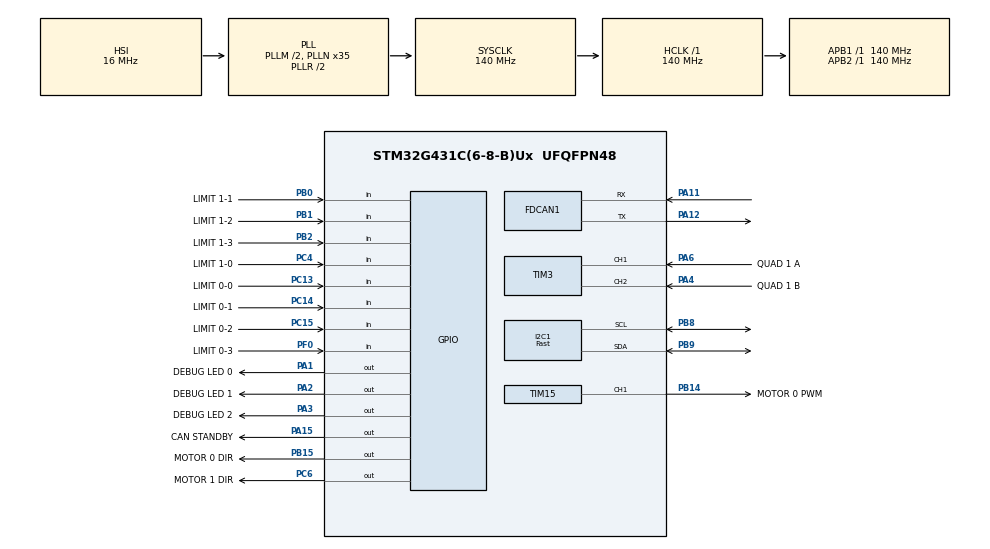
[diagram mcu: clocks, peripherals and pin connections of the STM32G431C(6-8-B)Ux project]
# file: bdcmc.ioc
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Dma.I2C1_RX.0.Direction=DMA_PERIPH_TO_MEMORY
Dma.I2C1_RX.0.EventEnable=DISABLE
Dma.I2C1_RX.0.Instance=DMA1_Channel1
Dma.I2C1_RX.0.MemDataAlignment=DMA_MDATAALIGN_BYTE
Dma.I2C1_RX.0.MemInc=DMA_MINC_ENABLE
Dma.I2C1_RX.0.Mode=DMA_NORMAL
Dma.I2C1_RX.0.PeriphDataAlignment=DMA_PDATAALIGN_BYTE
Dma.I2C1_RX.0.PeriphInc=DMA_PINC_DISABLE
Dma.I2C1_RX.0.Polarity=HAL_DMAMUX_REQ_GEN_RISING
Dma.I2C1_RX.0.Priority=DMA_PRIORITY_MEDIUM
Dma.I2C1_RX.0.RequestNumber=1
Dma.I2C1_RX.0.SignalID=NONE
Dma.I2C1_RX.0.SyncEnable=DISABLE
Dma.I2C1_RX.0.SyncPolarity=HAL_DMAMUX_SYNC_NO_EVENT
Dma.I2C1_RX.0.SyncRequestNumber=1
Dma.I2C1_RX.0.SyncSignalID=NONE
Dma.I2C1_TX.1.Direction=DMA_MEMORY_TO_PERIPH
Dma.I2C1_TX.1.EventEnable=DISABLE
Dma.I2C1_TX.1.Instance=DMA1_Channel2
Dma.I2C1_TX.1.MemDataAlignment=DMA_MDATAALIGN_BYTE
Dma.I2C1_TX.1.MemInc=DMA_MINC_ENABLE
Dma.I2C1_TX.1.Mode=DMA_NORMAL
Dma.I2C1_TX.1.PeriphDataAlignment=DMA_PDATAALIGN_BYTE
Dma.I2C1_TX.1.PeriphInc=DMA_PINC_DISABLE
Dma.I2C1_TX.1.Polarity=HAL_DMAMUX_REQ_GEN_RISING
Dma.I2C1_TX.1.Priority=DMA_PRIORITY_MEDIUM
Dma.I2C1_TX.1.RequestNumber=1
Dma.I2C1_TX.1.SignalID=NONE
Dma.I2C1_TX.1.SyncEnable=DISABLE
Dma.I2C1_TX.1.SyncPolarity=HAL_DMAMUX_SYNC_NO_EVENT
Dma.I2C1_TX.1.SyncRequestNumber=1
Dma.I2C1_TX.1.SyncSignalID=NONE
Dma.Request0=I2C1_RX
Dma.Request1=I2C1_TX
FDCAN1.AutoRetransmission=ENABLE
FDCAN1.CalculateBaudRateNominal=1000000
FDCAN1.CalculateTimeBitNominal=1000
FDCAN1.CalculateTimeQuantumNominal=7.142857142857143
FDCAN1.DataPrescaler=1
FDCAN1.DataSyncJumpWidth=13
FDCAN1.DataTimeSeg1=14
FDCAN1.DataTimeSeg2=13
FDCAN1.ExtFiltersNbr=1
FDCAN1.FrameFormat=FDCAN_FRAME_FD_NO_BRS
FDCAN1.Mode=FDCAN_MODE_NORMAL
FDCAN1.NominalPrescaler=1
FDCAN1.NominalSyncJumpWidth=19
FDCAN1.NominalTimeSeg1=120
FDCAN1.NominalTimeSeg2=19
I2C1.I2C_Speed_Mode=I2C_Fast
I2C1.Timing=0x00D04BFF
Mcu.Family=STM32G4
Mcu.Name=STM32G431C(6-8-B)Ux
Mcu.Package=UFQFPN48
NVIC.DMA1_Channel1_IRQn=true\:0\:0\:false\:false\:true\:false\:true\:true
NVIC.DMA1_Channel2_IRQn=true\:0\:0\:false\:false\:true\:false\:true\:true
NVIC.FDCAN1_IT0_IRQn=true\:0\:0\:false\:false\:true\:true\:true\:true
NVIC.I2C1_ER_IRQn=true\:0\:0\:false\:false\:true\:true\:true\:true
NVIC.I2C1_EV_IRQn=true\:0\:0\:false\:false\:true\:true\:true\:true
NVIC.PriorityGroup=NVIC_PRIORITYGROUP_4
NVIC.TIM1_TRG_COM_TIM17_IRQn=true\:0\:0\:false\:false\:true\:true\:true\:true
NVIC.TIM1_UP_TIM16_IRQn=true\:1\:0\:true\:false\:true\:true\:true\:true
NVIC.TIM2_IRQn=true\:1\:0\:true\:false\:true\:true\:true\:true
NVIC.TIM6_DAC_IRQn=true\:0\:0\:false\:false\:true\:true\:true\:true
NVIC.TIM7_IRQn=true\:1\:0\:true\:false\:true\:true\:true\:true
PA1.GPIO_Label=DEBUG LED 0
PA1.Signal=GPIO_Output
PA11.GPIO_Speed=GPIO_SPEED_FREQ_VERY_HIGH
PA11.Mode=FDCAN_Activate
PA11.Signal=FDCAN1_RX
PA12.GPIO_Speed=GPIO_SPEED_FREQ_VERY_HIGH
PA12.Mode=FDCAN_Activate
PA12.Signal=FDCAN1_TX
PA13.Mode=Serial_Wire
PA13.Signal=SYS_JTMS-SWDIO
PA14.Mode=Serial_Wire
PA14.Signal=SYS_JTCK-SWCLK
PA15.GPIO_Label=CAN STANDBY
PA15.Signal=GPIO_Output
PA2.GPIO_Label=DEBUG LED 1
PA2.Signal=GPIO_Output
PA3.GPIO_Label=DEBUG LED 2
PA3.Signal=GPIO_Output
PA4.GPIO_Label=QUAD 1 B
PA4.Signal=S_TIM3_CH2
PA6.GPIO_Label=QUAD 1 A
PA6.Signal=S_TIM3_CH1
PB0.GPIO_Label=LIMIT 1-1
PB0.GPIO_PuPd=GPIO_PULLUP
PB0.Signal=GPIO_Input
PB1.GPIO_Label=LIMIT 1-2
PB1.GPIO_PuPd=GPIO_PULLUP
PB1.Signal=GPIO_Input
PB14.GPIO_Label=MOTOR 0 PWM
PB14.Signal=S_TIM15_CH1
PB15.GPIO_Label=MOTOR 0 DIR
PB15.Signal=GPIO_Output
PB2.GPIO_Label=LIMIT 1-3
PB2.GPIO_PuPd=GPIO_PULLUP
PB2.Signal=GPIO_Input
PB8-BOOT0.GPIO_FM8=SYSCFG_FASTMODEPLUS_PB8
PB8-BOOT0.GPIO_Pu=GPIO_NOPULL
PB8-BOOT0.GPIO_Speed=GPIO_SPEED_FREQ_VERY_HIGH
PB8-BOOT0.Mode=I2C
PB8-BOOT0.Signal=I2C1_SCL
PB9.GPIO_FM9=SYSCFG_FASTMODEPLUS_PB9
PB9.GPIO_Pu=GPIO_NOPULL
PB9.GPIO_Speed=GPIO_SPEED_FREQ_VERY_HIGH
PB9.Mode=I2C
PB9.Signal=I2C1_SDA
PC13.GPIO_Label=LIMIT 0-0
PC13.GPIO_PuPd=GPIO_PULLUP
PC13.Signal=GPIO_Input
PC14-OSC32_IN.GPIO_Label=LIMIT 0-1
PC14-OSC32_IN.GPIO_PuPd=GPIO_PULLUP
PC14-OSC32_IN.Signal=GPIO_Input
PC15-OSC32_OUT.GPIO_Label=LIMIT 0-2
PC15-OSC32_OUT.GPIO_PuPd=GPIO_PULLUP
PC15-OSC32_OUT.Signal=GPIO_Input
PC4.GPIO_Label=LIMIT 1-0
PC4.GPIO_PuPd=GPIO_PULLUP
PC4.Signal=GPIO_Input
PC6.GPIO_Label=MOTOR 1 DIR
PC6.Signal=GPIO_Output
PF0-OSC_IN.GPIO_Label=LIMIT 0-3
PF0-OSC_IN.GPIO_PuPd=GPIO_PULLUP
PF0-OSC_IN.Signal=GPIO_Input
ProjectManager.HeapSize=0x200
ProjectManager.StackSize=0x400
ProjectManager.TargetToolchain=STM32CubeIDE
RCC.ADC12Freq_Value=140000000
RCC.AHBFreq_Value=140000000
RCC.APB1Freq_Value=140000000
RCC.APB1TimFreq_Value=140000000
RCC.APB2Freq_Value=140000000
RCC.APB2TimFreq_Value=140000000
RCC.CortexFreq_Value=140000000
RCC.EXTERNAL_CLOCK_VALUE=12288000
RCC.HCLKFreq_Value=140000000
RCC.HSE_VALUE=8000000
RCC.HSI48_VALUE=48000000
RCC.HSI_VALUE=16000000
RCC.LSE_VALUE=32768
RCC.PLLM=RCC_PLLM_DIV2
RCC.PLLN=35
RCC.SYSCLKFreq_VALUE=140000000
RCC.SYSCLKSource=RCC_SYSCLKSOURCE_PLLCLK
RCC.USBFreq_Value=140000000
RCC.VCOOutputFreq_Value=280000000
SH.S_TIM15_CH1.0=TIM15_CH1,PWM Generation1 CH1
SH.S_TIM3_CH1.0=TIM3_CH1,Encoder_Interface
SH.S_TIM3_CH2.0=TIM3_CH2,Encoder_Interface
TIM15.Channel-PWM\ Generation1\ CH1=TIM_CHANNEL_1
TIM15.PeriodNoDither=99
TIM15.Prescaler=63
TIM16.PeriodNoDither=54580
TIM16.Prescaler=512
TIM17.Channel=TIM_CHANNEL_1
TIM2.AutoReloadPreload=TIM_AUTORELOAD_PRELOAD_ENABLE
TIM2.PeriodNoDither=58333
TIM2.Prescaler=119
TIM7.AutoReloadPreload=TIM_AUTORELOAD_PRELOAD_ENABLE
TIM7.PeriodNoDither=49999
TIM7.Prescaler=139
VP_SYS_VS_DBSignals.Mode=DisableDeadBatterySignals
VP_TIM16_VS_ClockSourceINT.Mode=Enable_Timer
VP_TIM17_VS_ClockSourceINT.Mode=Enable_Timer
VP_TIM17_VS_no_output1.Mode=Output Compare1 No Output
VP_TIM2_VS_ClockSourceINT.Mode=Internal
VP_TIM6_VS_ClockSourceINT.Mode=Enable_Timer
VP_TIM7_VS_ClockSourceINT.Mode=Enable_Timer
VP_TIM8_VS_ClockSourceINT.Mode=Internal
board=custom

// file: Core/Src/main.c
/* USER CODE BEGIN Header */
/**
  ******************************************************************************
  * @file           : main.c
  * @brief          : Main program body
  ******************************************************************************
  * @attention
  *
  * Copyright (c) 2023 STMicroelectronics.
  * All rights reserved.
  *
  * This software is licensed under terms that can be found in the LICENSE file
  * in the root directory of this software component.
  * If no LICENSE file comes with this software, it is provided AS-IS.
  *
  ******************************************************************************
  */
/* USER CODE END Header */
#include "main.h"

FDCAN_HandleTypeDef hfdcan1;

I2C_HandleTypeDef hi2c1;
DMA_HandleTypeDef hdma_i2c1_rx;
DMA_HandleTypeDef hdma_i2c1_tx;

TIM_HandleTypeDef htim2;
TIM_HandleTypeDef htim3;
TIM_HandleTypeDef htim6;
TIM_HandleTypeDef htim7;
TIM_HandleTypeDef htim8;
TIM_HandleTypeDef htim15;
TIM_HandleTypeDef htim16;
TIM_HandleTypeDef htim17;

void SystemClock_Config(void);
static void MX_GPIO_Init(void);
static void MX_DMA_Init(void);
static void MX_FDCAN1_Init(void);
static void MX_I2C1_Init(void);
static void MX_TIM15_Init(void);
static void MX_TIM3_Init(void);
static void MX_TIM7_Init(void);
static void MX_TIM16_Init(void);
static void MX_TIM2_Init(void);
static void MX_TIM17_Init(void);
static void MX_TIM6_Init(void);
static void MX_TIM8_Init(void);
/* USER CODE BEGIN PFP */
void HAL_PostInit();
/* USER CODE END PFP */

int main(void)
{

  /* MCU Configuration--------------------------------------------------------*/

  /* Reset of all peripherals, Initializes the Flash interface and the Systick. */
  HAL_Init();

  /* Configure the system clock */
  SystemClock_Config();

  /* USER CODE BEGIN SysInit */
  // TODO(quintin)  Figure out why the HAL does not configure this properly
  //                See: https://community.st.com/t5/stm32-mcus-products/hal-delay-stuck-systick-not-triggered-workaround-for-stm32f105/td-p/585510
  //                Without this HAL_Delay does not work (SysTick_Handler is never called)
#ifdef VECT_TAB_SRAM
  SCB->VTOR = SRAM_BASE;
#else
  SCB->VTOR = FLASH_BASE;
#endif

    if ((FLASH->OPTR & FLASH_OPTR_nSWBOOT0_Msk) != 0x0 || ((FLASH->OPTR & FLASH_OPTR_nBOOT0_Msk) == 0x0))
    {
        while ((FLASH->SR & FLASH_SR_BSY_Msk) != 0x0) { ; }
        FLASH->KEYR = 0x45670123;
        while ((FLASH->SR & FLASH_SR_BSY_Msk) != 0x0) { ; }
        FLASH->KEYR = 0xCDEF89AB;

        while ((FLASH->SR & FLASH_SR_BSY_Msk) != 0x0) { ; }
        FLASH->OPTKEYR = 0x08192A3B;
        while ((FLASH->SR & FLASH_SR_BSY_Msk) != 0x0) { ; }
        FLASH->OPTKEYR = 0x4C5D6E7F;

        while ((FLASH->SR & FLASH_SR_BSY_Msk) != 0x0) { ; }
        FLASH->OPTR = (FLASH->OPTR & ~(FLASH_OPTR_nSWBOOT0_Msk)) | FLASH_OPTR_nBOOT0_Msk;

        while ((FLASH->SR & FLASH_SR_BSY_Msk) != 0x0) { ; }
        FLASH->CR = FLASH->CR | FLASH_CR_OPTSTRT;

        while ((FLASH->SR & FLASH_SR_BSY_Msk) != 0x0) { ; }
    }
  /* USER CODE END SysInit */

  /* Initialize all configured peripherals */
  MX_GPIO_Init();
  MX_DMA_Init();
  MX_FDCAN1_Init();
  MX_I2C1_Init();
  MX_TIM15_Init();
  MX_TIM3_Init();
  MX_TIM7_Init();
  MX_TIM16_Init();
  MX_TIM2_Init();
  MX_TIM17_Init();
  MX_TIM6_Init();
  MX_TIM8_Init();
  /* USER CODE BEGIN 2 */
  HAL_PostInit();

  // could call a function here to send something on the bus
  /* USER CODE END 2 */

  /* Infinite loop */
  while (1)
  {

  }
}

void SystemClock_Config(void)
{
  RCC_OscInitTypeDef RCC_OscInitStruct = {0};
  RCC_ClkInitTypeDef RCC_ClkInitStruct = {0};

  /** Configure the main internal regulator output voltage
  */
  HAL_PWREx_ControlVoltageScaling(PWR_REGULATOR_VOLTAGE_SCALE1);

  /** Initializes the RCC Oscillators according to the specified parameters
  * in the RCC_OscInitTypeDef structure.
  */
  RCC_OscInitStruct.OscillatorType = RCC_OSCILLATORTYPE_HSI;
  RCC_OscInitStruct.HSIState = RCC_HSI_ON;
  RCC_OscInitStruct.HSICalibrationValue = RCC_HSICALIBRATION_DEFAULT;
  RCC_OscInitStruct.PLL.PLLState = RCC_PLL_ON;
  RCC_OscInitStruct.PLL.PLLSource = RCC_PLLSOURCE_HSI;
  RCC_OscInitStruct.PLL.PLLM = RCC_PLLM_DIV2;
  RCC_OscInitStruct.PLL.PLLN = 35;
  RCC_OscInitStruct.PLL.PLLP = RCC_PLLP_DIV2;
  RCC_OscInitStruct.PLL.PLLQ = RCC_PLLQ_DIV2;
  RCC_OscInitStruct.PLL.PLLR = RCC_PLLR_DIV2;
  if (HAL_RCC_OscConfig(&RCC_OscInitStruct) != HAL_OK)
  {
    Error_Handler();
  }

  /** Initializes the CPU, AHB and APB buses clocks
  */
  RCC_ClkInitStruct.ClockType = RCC_CLOCKTYPE_HCLK|RCC_CLOCKTYPE_SYSCLK
                              |RCC_CLOCKTYPE_PCLK1|RCC_CLOCKTYPE_PCLK2;
  RCC_ClkInitStruct.SYSCLKSource = RCC_SYSCLKSOURCE_PLLCLK;
  RCC_ClkInitStruct.AHBCLKDivider = RCC_SYSCLK_DIV1;
  RCC_ClkInitStruct.APB1CLKDivider = RCC_HCLK_DIV1;
  RCC_ClkInitStruct.APB2CLKDivider = RCC_HCLK_DIV1;

  if (HAL_RCC_ClockConfig(&RCC_ClkInitStruct, FLASH_LATENCY_4) != HAL_OK)
  {
    Error_Handler();
  }
}

static void MX_FDCAN1_Init(void)
{

  hfdcan1.Instance = FDCAN1;
  hfdcan1.Init.ClockDivider = FDCAN_CLOCK_DIV1;
  hfdcan1.Init.FrameFormat = FDCAN_FRAME_FD_NO_BRS;
  hfdcan1.Init.Mode = FDCAN_MODE_NORMAL;
  hfdcan1.Init.AutoRetransmission = ENABLE;
  hfdcan1.Init.TransmitPause = DISABLE;
  hfdcan1.Init.ProtocolException = DISABLE;
  hfdcan1.Init.NominalPrescaler = 1;
  hfdcan1.Init.NominalSyncJumpWidth = 19;
  hfdcan1.Init.NominalTimeSeg1 = 120;
  hfdcan1.Init.NominalTimeSeg2 = 19;
  hfdcan1.Init.DataPrescaler = 1;
  hfdcan1.Init.DataSyncJumpWidth = 13;
  hfdcan1.Init.DataTimeSeg1 = 14;
  hfdcan1.Init.DataTimeSeg2 = 13;
  hfdcan1.Init.StdFiltersNbr = 0;
  hfdcan1.Init.ExtFiltersNbr = 1;
  hfdcan1.Init.TxFifoQueueMode = FDCAN_TX_FIFO_OPERATION;
  if (HAL_FDCAN_Init(&hfdcan1) != HAL_OK)
  {
    Error_Handler();
  }

}

static void MX_I2C1_Init(void)
{

  hi2c1.Instance = I2C1;
  hi2c1.Init.Timing = 0x00D04BFF;
  hi2c1.Init.OwnAddress1 = 0;
  hi2c1.Init.AddressingMode = I2C_ADDRESSINGMODE_7BIT;
  hi2c1.Init.DualAddressMode = I2C_DUALADDRESS_DISABLE;
  hi2c1.Init.OwnAddress2 = 0;
  hi2c1.Init.OwnAddress2Masks = I2C_OA2_NOMASK;
  hi2c1.Init.GeneralCallMode = I2C_GENERALCALL_DISABLE;
  hi2c1.Init.NoStretchMode = I2C_NOSTRETCH_DISABLE;
  if (HAL_I2C_Init(&hi2c1) != HAL_OK)
  {
    Error_Handler();
  }

  /** Configure Analogue filter
  */
  if (HAL_I2CEx_ConfigAnalogFilter(&hi2c1, I2C_ANALOGFILTER_ENABLE) != HAL_OK)
  {
    Error_Handler();
  }

  /** Configure Digital filter
  */
  if (HAL_I2CEx_ConfigDigitalFilter(&hi2c1, 0) != HAL_OK)
  {
    Error_Handler();
  }

}

static void MX_TIM2_Init(void)
{

  TIM_ClockConfigTypeDef sClockSourceConfig = {0};
  TIM_MasterConfigTypeDef sMasterConfig = {0};

  htim2.Instance = TIM2;
  htim2.Init.Prescaler = 119;
  htim2.Init.CounterMode = TIM_COUNTERMODE_UP;
  htim2.Init.Period = 58333;
  htim2.Init.ClockDivision = TIM_CLOCKDIVISION_DIV1;
  htim2.Init.AutoReloadPreload = TIM_AUTORELOAD_PRELOAD_ENABLE;
  if (HAL_TIM_Base_Init(&htim2) != HAL_OK)
  {
    Error_Handler();
  }
  sClockSourceConfig.ClockSource = TIM_CLOCKSOURCE_INTERNAL;
  if (HAL_TIM_ConfigClockSource(&htim2, &sClockSourceConfig) != HAL_OK)
  {
    Error_Handler();
  }
  sMasterConfig.MasterOutputTrigger = TIM_TRGO_RESET;
  sMasterConfig.MasterSlaveMode = TIM_MASTERSLAVEMODE_DISABLE;
  if (HAL_TIMEx_MasterConfigSynchronization(&htim2, &sMasterConfig) != HAL_OK)
  {
    Error_Handler();
  }

}

static void MX_TIM3_Init(void)
{

  TIM_Encoder_InitTypeDef sConfig = {0};
  TIM_MasterConfigTypeDef sMasterConfig = {0};

  htim3.Instance = TIM3;
  htim3.Init.Prescaler = 0;
  htim3.Init.CounterMode = TIM_COUNTERMODE_UP;
  htim3.Init.Period = 65535;
  htim3.Init.ClockDivision = TIM_CLOCKDIVISION_DIV1;
  htim3.Init.AutoReloadPreload = TIM_AUTORELOAD_PRELOAD_DISABLE;
  sConfig.EncoderMode = TIM_ENCODERMODE_TI1;
  sConfig.IC1Polarity = TIM_ICPOLARITY_RISING;
  sConfig.IC1Selection = TIM_ICSELECTION_DIRECTTI;
  sConfig.IC1Prescaler = TIM_ICPSC_DIV1;
  sConfig.IC1Filter = 0;
  sConfig.IC2Polarity = TIM_ICPOLARITY_RISING;
  sConfig.IC2Selection = TIM_ICSELECTION_DIRECTTI;
  sConfig.IC2Prescaler = TIM_ICPSC_DIV1;
  sConfig.IC2Filter = 0;
  if (HAL_TIM_Encoder_Init(&htim3, &sConfig) != HAL_OK)
  {
    Error_Handler();
  }
  sMasterConfig.MasterOutputTrigger = TIM_TRGO_RESET;
  sMasterConfig.MasterSlaveMode = TIM_MASTERSLAVEMODE_DISABLE;
  if (HAL_TIMEx_MasterConfigSynchronization(&htim3, &sMasterConfig) != HAL_OK)
  {
    Error_Handler();
  }

}

static void MX_TIM6_Init(void)
{

  TIM_MasterConfigTypeDef sMasterConfig = {0};

  htim6.Instance = TIM6;
  htim6.Init.Prescaler = 0;
  htim6.Init.CounterMode = TIM_COUNTERMODE_UP;
  htim6.Init.Period = 65535;
  htim6.Init.AutoReloadPreload = TIM_AUTORELOAD_PRELOAD_DISABLE;
  if (HAL_TIM_Base_Init(&htim6) != HAL_OK)
  {
    Error_Handler();
  }
  sMasterConfig.MasterOutputTrigger = TIM_TRGO_RESET;
  sMasterConfig.MasterSlaveMode = TIM_MASTERSLAVEMODE_DISABLE;
  if (HAL_TIMEx_MasterConfigSynchronization(&htim6, &sMasterConfig) != HAL_OK)
  {
    Error_Handler();
  }

}

static void MX_TIM7_Init(void)
{

  TIM_MasterConfigTypeDef sMasterConfig = {0};

  htim7.Instance = TIM7;
  htim7.Init.Prescaler = 139;
  htim7.Init.CounterMode = TIM_COUNTERMODE_UP;
  htim7.Init.Period = 49999;
  htim7.Init.AutoReloadPreload = TIM_AUTORELOAD_PRELOAD_ENABLE;
  if (HAL_TIM_Base_Init(&htim7) != HAL_OK)
  {
    Error_Handler();
  }
  sMasterConfig.MasterOutputTrigger = TIM_TRGO_RESET;
  sMasterConfig.MasterSlaveMode = TIM_MASTERSLAVEMODE_DISABLE;
  if (HAL_TIMEx_MasterConfigSynchronization(&htim7, &sMasterConfig) != HAL_OK)
  {
    Error_Handler();
  }

}

static void MX_TIM8_Init(void)
{

  TIM_ClockConfigTypeDef sClockSourceConfig = {0};
  TIM_MasterConfigTypeDef sMasterConfig = {0};

  htim8.Instance = TIM8;
  htim8.Init.Prescaler = 0;
  htim8.Init.CounterMode = TIM_COUNTERMODE_UP;
  htim8.Init.Period = 65535;
  htim8.Init.ClockDivision = TIM_CLOCKDIVISION_DIV1;
  htim8.Init.RepetitionCounter = 0;
  htim8.Init.AutoReloadPreload = TIM_AUTORELOAD_PRELOAD_DISABLE;
  if (HAL_TIM_Base_Init(&htim8) != HAL_OK)
  {
    Error_Handler();
  }
  sClockSourceConfig.ClockSource = TIM_CLOCKSOURCE_INTERNAL;
  if (HAL_TIM_ConfigClockSource(&htim8, &sClockSourceConfig) != HAL_OK)
  {
    Error_Handler();
  }
  sMasterConfig.MasterOutputTrigger = TIM_TRGO_RESET;
  sMasterConfig.MasterOutputTrigger2 = TIM_TRGO2_RESET;
  sMasterConfig.MasterSlaveMode = TIM_MASTERSLAVEMODE_DISABLE;
  if (HAL_TIMEx_MasterConfigSynchronization(&htim8, &sMasterConfig) != HAL_OK)
  {
    Error_Handler();
  }

}

static void MX_TIM15_Init(void)
{

  TIM_MasterConfigTypeDef sMasterConfig = {0};
  TIM_OC_InitTypeDef sConfigOC = {0};
  TIM_BreakDeadTimeConfigTypeDef sBreakDeadTimeConfig = {0};

  htim15.Instance = TIM15;
  htim15.Init.Prescaler = 63;
  htim15.Init.CounterMode = TIM_COUNTERMODE_UP;
  htim15.Init.Period = 99;
  htim15.Init.ClockDivision = TIM_CLOCKDIVISION_DIV1;
  htim15.Init.RepetitionCounter = 0;
  htim15.Init.AutoReloadPreload = TIM_AUTORELOAD_PRELOAD_DISABLE;
  if (HAL_TIM_PWM_Init(&htim15) != HAL_OK)
  {
    Error_Handler();
  }
  sMasterConfig.MasterOutputTrigger = TIM_TRGO_RESET;
  sMasterConfig.MasterSlaveMode = TIM_MASTERSLAVEMODE_DISABLE;
  if (HAL_TIMEx_MasterConfigSynchronization(&htim15, &sMasterConfig) != HAL_OK)
  {
    Error_Handler();
  }
  sConfigOC.OCMode = TIM_OCMODE_PWM1;
  sConfigOC.Pulse = 0;
  sConfigOC.OCPolarity = TIM_OCPOLARITY_HIGH;
  sConfigOC.OCNPolarity = TIM_OCNPOLARITY_HIGH;
  sConfigOC.OCFastMode = TIM_OCFAST_DISABLE;
  sConfigOC.OCIdleState = TIM_OCIDLESTATE_RESET;
  sConfigOC.OCNIdleState = TIM_OCNIDLESTATE_RESET;
  if (HAL_TIM_PWM_ConfigChannel(&htim15, &sConfigOC, TIM_CHANNEL_1) != HAL_OK)
  {
    Error_Handler();
  }
  sBreakDeadTimeConfig.OffStateRunMode = TIM_OSSR_DISABLE;
  sBreakDeadTimeConfig.OffStateIDLEMode = TIM_OSSI_DISABLE;
  sBreakDeadTimeConfig.LockLevel = TIM_LOCKLEVEL_OFF;
  sBreakDeadTimeConfig.DeadTime = 0;
  sBreakDeadTimeConfig.BreakState = TIM_BREAK_DISABLE;
  sBreakDeadTimeConfig.BreakPolarity = TIM_BREAKPOLARITY_HIGH;
  sBreakDeadTimeConfig.BreakFilter = 0;
  sBreakDeadTimeConfig.AutomaticOutput = TIM_AUTOMATICOUTPUT_DISABLE;
  if (HAL_TIMEx_ConfigBreakDeadTime(&htim15, &sBreakDeadTimeConfig) != HAL_OK)
  {
    Error_Handler();
  }
  HAL_TIM_MspPostInit(&htim15);

}

static void MX_TIM16_Init(void)
{

  htim16.Instance = TIM16;
  htim16.Init.Prescaler = 512;
  htim16.Init.CounterMode = TIM_COUNTERMODE_UP;
  htim16.Init.Period = 54580;
  htim16.Init.ClockDivision = TIM_CLOCKDIVISION_DIV1;
  htim16.Init.RepetitionCounter = 0;
  htim16.Init.AutoReloadPreload = TIM_AUTORELOAD_PRELOAD_DISABLE;
  if (HAL_TIM_Base_Init(&htim16) != HAL_OK)
  {
    Error_Handler();
  }

}

static void MX_TIM17_Init(void)
{

  TIM_OC_InitTypeDef sConfigOC = {0};
  TIM_BreakDeadTimeConfigTypeDef sBreakDeadTimeConfig = {0};

  htim17.Instance = TIM17;
  htim17.Init.Prescaler = 0;
  htim17.Init.CounterMode = TIM_COUNTERMODE_UP;
  htim17.Init.Period = 65535;
  htim17.Init.ClockDivision = TIM_CLOCKDIVISION_DIV1;
  htim17.Init.RepetitionCounter = 0;
  htim17.Init.AutoReloadPreload = TIM_AUTORELOAD_PRELOAD_DISABLE;
  if (HAL_TIM_Base_Init(&htim17) != HAL_OK)
  {
    Error_Handler();
  }
  if (HAL_TIM_OC_Init(&htim17) != HAL_OK)
  {
    Error_Handler();
  }
  sConfigOC.OCMode = TIM_OCMODE_TIMING;
  sConfigOC.Pulse = 0;
  sConfigOC.OCPolarity = TIM_OCPOLARITY_HIGH;
  sConfigOC.OCNPolarity = TIM_OCNPOLARITY_HIGH;
  sConfigOC.OCFastMode = TIM_OCFAST_DISABLE;
  sConfigOC.OCIdleState = TIM_OCIDLESTATE_RESET;
  sConfigOC.OCNIdleState = TIM_OCNIDLESTATE_RESET;
  if (HAL_TIM_OC_ConfigChannel(&htim17, &sConfigOC, TIM_CHANNEL_1) != HAL_OK)
  {
    Error_Handler();
  }
  sBreakDeadTimeConfig.OffStateRunMode = TIM_OSSR_DISABLE;
  sBreakDeadTimeConfig.OffStateIDLEMode = TIM_OSSI_DISABLE;
  sBreakDeadTimeConfig.LockLevel = TIM_LOCKLEVEL_OFF;
  sBreakDeadTimeConfig.DeadTime = 0;
  sBreakDeadTimeConfig.BreakState = TIM_BREAK_DISABLE;
  sBreakDeadTimeConfig.BreakPolarity = TIM_BREAKPOLARITY_HIGH;
  sBreakDeadTimeConfig.BreakFilter = 0;
  sBreakDeadTimeConfig.AutomaticOutput = TIM_AUTOMATICOUTPUT_DISABLE;
  if (HAL_TIMEx_ConfigBreakDeadTime(&htim17, &sBreakDeadTimeConfig) != HAL_OK)
  {
    Error_Handler();
  }

}

static void MX_DMA_Init(void)
{

  /* DMA controller clock enable */
  __HAL_RCC_DMAMUX1_CLK_ENABLE();
  __HAL_RCC_DMA1_CLK_ENABLE();

  /* DMA interrupt init */
  /* DMA1_Channel1_IRQn interrupt configuration */
  HAL_NVIC_SetPriority(DMA1_Channel1_IRQn, 0, 0);
  HAL_NVIC_EnableIRQ(DMA1_Channel1_IRQn);
  /* DMA1_Channel2_IRQn interrupt configuration */
  HAL_NVIC_SetPriority(DMA1_Channel2_IRQn, 0, 0);
  HAL_NVIC_EnableIRQ(DMA1_Channel2_IRQn);

}

static void MX_GPIO_Init(void)
{
  GPIO_InitTypeDef GPIO_InitStruct = {0};

  /* GPIO Ports Clock Enable */
  __HAL_RCC_GPIOC_CLK_ENABLE();
  __HAL_RCC_GPIOF_CLK_ENABLE();
  __HAL_RCC_GPIOA_CLK_ENABLE();
  __HAL_RCC_GPIOB_CLK_ENABLE();

  /*Configure GPIO pin Output Level */
  HAL_GPIO_WritePin(GPIOA, DEBUG_LED_0_Pin|DEBUG_LED_1_Pin|DEBUG_LED_2_Pin|CAN_STANDBY_Pin, GPIO_PIN_RESET);

  /*Configure GPIO pin Output Level */
  HAL_GPIO_WritePin(MOTOR_0_DIR_GPIO_Port, MOTOR_0_DIR_Pin, GPIO_PIN_RESET);

  /*Configure GPIO pin Output Level */
  HAL_GPIO_WritePin(MOTOR_1_DIR_GPIO_Port, MOTOR_1_DIR_Pin, GPIO_PIN_RESET);

  /*Configure GPIO pins : LIMIT_0_0_Pin LIMIT_0_1_Pin LIMIT_0_2_Pin LIMIT_1_0_Pin */
  GPIO_InitStruct.Pin = LIMIT_0_0_Pin|LIMIT_0_1_Pin|LIMIT_0_2_Pin|LIMIT_1_0_Pin;
  GPIO_InitStruct.Mode = GPIO_MODE_INPUT;
  GPIO_InitStruct.Pull = GPIO_PULLUP;
  HAL_GPIO_Init(GPIOC, &GPIO_InitStruct);

  /*Configure GPIO pin : LIMIT_0_3_Pin */
  GPIO_InitStruct.Pin = LIMIT_0_3_Pin;
  GPIO_InitStruct.Mode = GPIO_MODE_INPUT;
  GPIO_InitStruct.Pull = GPIO_PULLUP;
  HAL_GPIO_Init(LIMIT_0_3_GPIO_Port, &GPIO_InitStruct);

  /*Configure GPIO pins : DEBUG_LED_0_Pin DEBUG_LED_1_Pin DEBUG_LED_2_Pin CAN_STANDBY_Pin */
  GPIO_InitStruct.Pin = DEBUG_LED_0_Pin|DEBUG_LED_1_Pin|DEBUG_LED_2_Pin|CAN_STANDBY_Pin;
  GPIO_InitStruct.Mode = GPIO_MODE_OUTPUT_PP;
  GPIO_InitStruct.Pull = GPIO_NOPULL;
  GPIO_InitStruct.Speed = GPIO_SPEED_FREQ_LOW;
  HAL_GPIO_Init(GPIOA, &GPIO_InitStruct);

  /*Configure GPIO pins : LIMIT_1_1_Pin LIMIT_1_2_Pin LIMIT_1_3_Pin */
  GPIO_InitStruct.Pin = LIMIT_1_1_Pin|LIMIT_1_2_Pin|LIMIT_1_3_Pin;
  GPIO_InitStruct.Mode = GPIO_MODE_INPUT;
  GPIO_InitStruct.Pull = GPIO_PULLUP;
  HAL_GPIO_Init(GPIOB, &GPIO_InitStruct);

  /*Configure GPIO pin : MOTOR_0_DIR_Pin */
  GPIO_InitStruct.Pin = MOTOR_0_DIR_Pin;
  GPIO_InitStruct.Mode = GPIO_MODE_OUTPUT_PP;
  GPIO_InitStruct.Pull = GPIO_NOPULL;
  GPIO_InitStruct.Speed = GPIO_SPEED_FREQ_LOW;
  HAL_GPIO_Init(MOTOR_0_DIR_GPIO_Port, &GPIO_InitStruct);

  /*Configure GPIO pin : MOTOR_1_DIR_Pin */
  GPIO_InitStruct.Pin = MOTOR_1_DIR_Pin;
  GPIO_InitStruct.Mode = GPIO_MODE_OUTPUT_PP;
  GPIO_InitStruct.Pull = GPIO_NOPULL;
  GPIO_InitStruct.Speed = GPIO_SPEED_FREQ_LOW;
  HAL_GPIO_Init(MOTOR_1_DIR_GPIO_Port, &GPIO_InitStruct);

}

void Error_Handler(void)
{
  __disable_irq();
  while (1)
  {
  }
}
